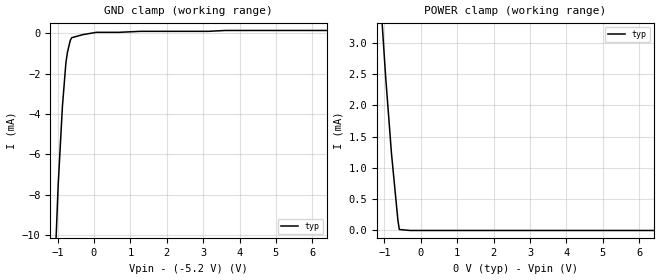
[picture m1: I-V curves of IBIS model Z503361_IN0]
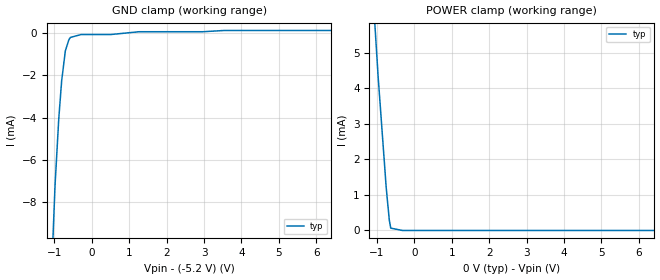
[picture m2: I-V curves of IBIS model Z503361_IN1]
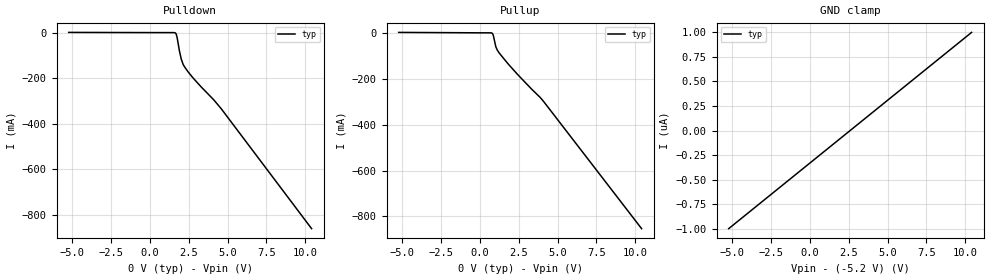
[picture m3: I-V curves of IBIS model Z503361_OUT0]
| YOU ARE ONLY AUTHORIZED TO USE THIS SOFTWARE
| ACCORDING TO LICENSOR'S LICENSE RESTRICTIONS.
[IBIS Ver] 3.1
[File Name] mc100e112fn.ibs
[File Rev] 2.0
[Source] Measured and created by ICX Technology
[Date] Friday 7/14/00 9:07:47 AM
[Copyright]
| (C) COPYRIGHT 1993-2000
| MENTOR GRAPHICS CORPORATION
| ICX STANDARD LIBRARY, ICX PROJECT MODELING,
| ICX CUSTOM MODELING, ICX VENDOR MODEL
| ALL RIGHTS RESERVED.
| THE FOLLOWING ARE TRADEMARKS OR SERVICE MARKS OF
| MENTOR GRAPHICS CORPORATION:ICX (R), ICX STANDARD
| LIBRARY(R), ICX PROJECT MODELING(R), ICX CUSTOM
| MODELING(R), qualityIBIS(TM), MODELVIEWER(TM),
| AND MODELEDITOR(TM)
| ALL COPIES OF SOFTWARE, INCLUDING BUT NOT LIMITED TO
| ANY MODIFICATIONS, ENHANCEMENTS OR DERIVATIVE WORKS,
| MUST CONTAIN ALL MENTOR GRAPHICS CORPORATION'S
| NOTICES AND LEGENDS, INCLUDING THOSE EMBEDDED IN
| SOFTWARE AND THOSE AFFIXED TO SOFTWARE MEDIUM
| AND CONTAINER, AS RECEIVED FROM MENTOR GRAPHICS
| CORPORATION.
|  ZAP Model Builder 2.7
[Component] MC100E112FN
[Manufacturer] OnSemiconductor
[Package]
| variable   typ   min   max
R_pkg  .083ohms NA NA
L_pkg  4.299nH NA NA
C_pkg  1.045pF NA NA
[Pin] signal_name  model_name  R_pin  L_pin C_pin
1 VEE POWER .08 3.94n .925p
2 D1 Z503361_IN0 .082 4.14n .995p
3 D0 Z503361_IN0 .084 4.354n 1.065p
4 _EN Z503361_IN1 .086 4.583n 1.135p
5 NC NC .086 4.583n 1.135p
6 VCCO POWER .084 4.354n 1.065p
7 Q0A Z503361_OUT0 .082 4.14n .995p
8 Q0B Z503361_OUT0 .08 3.94n .925p
9 _Q0A Z503361_OUT1 .082 4.14n .995p
10 _Q0B Z503361_OUT1 .084 4.354n 1.065p
11 VCCO POWER .086 4.583n 1.135p
12 Q1A Z503361_OUT0 .086 4.583n 1.135p
13 Q1B Z503361_OUT0 .084 4.354n 1.065p
14 _Q1A Z503361_OUT1 .082 4.14n .995p
15 _Q1B Z503361_OUT1 .08 3.94n .925p
16 VCC POWER .082 4.14n .995p
17 Q2A Z503361_OUT0 .084 4.354n 1.065p
18 Q2B Z503361_OUT0 .086 4.583n 1.135p
19 _Q2A Z503361_OUT1 .086 4.583n 1.135p
20 _Q2B Z503361_OUT1 .084 4.354n 1.065p
21 VCCO POWER .082 4.14n .995p
22 Q3A Z503361_OUT0 .08 3.94n .925p
23 Q3B Z503361_OUT0 .082 4.14n .995p
24 _Q3A Z503361_OUT1 .084 4.354n 1.065p
25 _Q3B Z503361_OUT1 .086 4.583n 1.135p
26 VCCO POWER .086 4.583n 1.135p
27 D3 Z503361_IN0 .084 4.354n 1.065p
28 D2 Z503361_IN0 .082 4.14n .995p
| Models and submodels in the file (4): Z503361_IN0 (Input_ECL), Z503361_IN1 (Input_ECL), Z503361_OUT0 (Output_ECL), Z503361_OUT1 (Output_ECL)
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| (C) COPYRIGHT 1993-2000
| MENTOR GRAPHICS CORPORATION
| ICX STANDARD LIBRARY, ICX PROJECT MODELING,
| ICX CUSTOM MODELING, ICX VENDOR MODEL
| ALL RIGHTS RESERVED.
| THE FOLLOWING ARE TRADEMARKS OR SERVICE MARKS OF
| MENTOR GRAPHICS CORPORATION:ICX (R), ICX STANDARD
| LIBRARY(R), ICX PROJECT MODELING(R), ICX CUSTOM
| MODELING(R), qualityIBIS(TM), MODELVIEWER(TM),
| AND MODELEDITOR(TM)
| ALL COPIES OF SOFTWARE, INCLUDING BUT NOT LIMITED TO
| ANY MODIFICATIONS, ENHANCEMENTS OR DERIVATIVE WORKS,
| MUST CONTAIN ALL MENTOR GRAPHICS CORPORATION'S
| NOTICES AND LEGENDS, INCLUDING THOSE EMBEDDED IN
| SOFTWARE AND THOSE AFFIXED TO SOFTWARE MEDIUM
| AND CONTAINER, AS RECEIVED FROM MENTOR GRAPHICS
| CORPORATION.
| Model Application Version 1.89 2/18/99.
[Model] Z503361_IN0
Model_type Input_ECL
Vinl = -1.475V
Vinh = -1.165V
C_comp 4.000pF NA NA
| variable typ   min   max
[Voltage Range] -5.200V NA NA
[GND Clamp Reference] -5.200V NA NA
[POWER Clamp Reference] 0.000V NA NA
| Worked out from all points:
|   GND clamp passes 1 mA (typ) near -0.73 V on its own axis
|   POWER clamp passes 1 mA (typ) near -0.77 V on its own axis
[GND Clamp]
-5.2V     -373.7mA   NA         NA
-1.077V   -11.82mA   NA         NA
-983mV    -7.52mA    NA         NA
-866mV    -3.607mA   NA         NA
-771mV    -1.457mA   NA         NA
-728mV    -928.4uA   NA         NA
-650mV    -338.8uA   NA         NA
-611mV    -208.2uA   NA         NA
64mV      56.73uA    NA         NA
1.283V    107.1uA    NA         NA
3.613V    149.7uA    NA         NA
10.4V     149.7uA    NA         NA
[POWER Clamp]
-5.2V     49.86mA    NA         NA
-2.959V   19.61mA    NA         NA
-2.939V   19.59mA    NA         NA
-2.92V    19.46mA    NA         NA
-2.051V   12.08mA    NA         NA
-966.8mV  2.458mA    NA         NA
-806mV    1.228mA    NA         NA
-629.2mV  160.5uA    NA         NA
-590.7mV  15.8uA     NA         NA
-295.3mV  0A         NA         NA
10.4V     0A         NA         NA
| (C) COPYRIGHT 1993-2000
| MENTOR GRAPHICS CORPORATION
| ICX STANDARD LIBRARY, ICX PROJECT MODELING,
| ICX CUSTOM MODELING, ICX VENDOR MODEL
| ALL RIGHTS RESERVED.
| THE FOLLOWING ARE TRADEMARKS OR SERVICE MARKS OF
| MENTOR GRAPHICS CORPORATION:ICX (R), ICX STANDARD
| LIBRARY(R), ICX PROJECT MODELING(R), ICX CUSTOM
| MODELING(R), qualityIBIS(TM), MODELVIEWER(TM),
| AND MODELEDITOR(TM)
| ALL COPIES OF SOFTWARE, INCLUDING BUT NOT LIMITED TO
| ANY MODIFICATIONS, ENHANCEMENTS OR DERIVATIVE WORKS,
| MUST CONTAIN ALL MENTOR GRAPHICS CORPORATION'S
| NOTICES AND LEGENDS, INCLUDING THOSE EMBEDDED IN
| SOFTWARE AND THOSE AFFIXED TO SOFTWARE MEDIUM
| AND CONTAINER, AS RECEIVED FROM MENTOR GRAPHICS
| CORPORATION.
| Model Application Version 1.89 2/18/99.
[Model] Z503361_IN1
Model_type Input_ECL
Vinl = -1.475V
Vinh = -1.165V
C_comp 4.000pF NA NA
| variable typ   min   max
[Voltage Range] -5.200V NA NA
[GND Clamp Reference] -5.200V NA NA
[POWER Clamp Reference] 0.000V NA NA
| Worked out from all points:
|   GND clamp passes 1 mA (typ) near -0.72 V on its own axis
|   POWER clamp passes 1 mA (typ) near -0.73 V on its own axis
[GND Clamp]
-5.2V     -343.6mA   NA         NA
-1.074V   -11.29mA   NA         NA
-982mV    -7.181mA   NA         NA
-883mV    -4.046mA   NA         NA
-806mV    -2.264mA   NA         NA
-707mV    -835.4uA   NA         NA
-610mV    -299uA     NA         NA
-571mV    -203.1uA   NA         NA
-285.5mV  -65.56uA   NA         NA
507.5mV   -65.56uA   NA         NA
1.264V    66.53uA    NA         NA
10.4V     125.8uA    NA         NA
[POWER Clamp]
-5.2V     80.49mA    NA         NA
-1.182V   7.966mA    NA         NA
-966.5mV  4.329mA    NA         NA
-750.4mV  1.2mA      NA         NA
-668.5mV  294.7uA    NA         NA
-629.7mV  66.3uA     NA         NA
-314.9mV  0A         NA         NA
10.4V     0A         NA         NA
| (C) COPYRIGHT 1993-2000
| MENTOR GRAPHICS CORPORATION
| ICX STANDARD LIBRARY, ICX PROJECT MODELING,
| ICX CUSTOM MODELING, ICX VENDOR MODEL
| ALL RIGHTS RESERVED.
| THE FOLLOWING ARE TRADEMARKS OR SERVICE MARKS OF
| MENTOR GRAPHICS CORPORATION:ICX (R), ICX STANDARD
| LIBRARY(R), ICX PROJECT MODELING(R), ICX CUSTOM
| MODELING(R), qualityIBIS(TM), MODELVIEWER(TM),
| AND MODELEDITOR(TM)
| ALL COPIES OF SOFTWARE, INCLUDING BUT NOT LIMITED TO
| ANY MODIFICATIONS, ENHANCEMENTS OR DERIVATIVE WORKS,
| MUST CONTAIN ALL MENTOR GRAPHICS CORPORATION'S
| NOTICES AND LEGENDS, INCLUDING THOSE EMBEDDED IN
| SOFTWARE AND THOSE AFFIXED TO SOFTWARE MEDIUM
| AND CONTAINER, AS RECEIVED FROM MENTOR GRAPHICS
| CORPORATION.
| Model Application Version 1.89 2/18/99.
[Model] Z503361_OUT0
Model_type Output_ECL
Vref=-2.000V
Rref=50.00ohms
Cref=0.000F
Vmeas=-1.320V
C_comp 8.000pF NA NA
| variable typ   min   max
[Voltage Range] -5.200V NA NA
[POWER Clamp Reference] 0.000V NA NA
[Pullup Reference] 0.000V NA NA
[Pulldown Reference] 0.000V NA NA
[GND Clamp Reference] -5.200V NA NA
[GND Clamp]
-5.2V     -1uA       NA         NA
10.4V     1uA        NA         NA
[Pulldown]
-5.2V     829.9uA    NA         NA
1.66V     -2.167mA   NA         NA
1.699V    -5.599mA   NA         NA
1.762V    -21.06mA   NA         NA
1.914V    -81.04mA   NA         NA
2.032V    -116.7mA   NA         NA
2.149V    -139.2mA   NA         NA
2.236V    -149.8mA   NA         NA
2.764V    -197.1mA   NA         NA
4.116V    -294.9mA   NA         NA
4.595V    -333.8mA   NA         NA
10.4V     -859.9mA   NA         NA
[Pullup]
-5.2V     1.751mA    NA         NA
804.2mV   -1.843mA   NA         NA
888.7mV   -14.33mA   NA         NA
1.036V    -60.35mA   NA         NA
1.124V    -74.28mA   NA         NA
1.246V    -87.23mA   NA         NA
2.404V    -179.2mA   NA         NA
4.111V    -299.6mA   NA         NA
10.4V     -853.4mA   NA         NA
[POWER Clamp]
-5.2V     0A         NA         NA
10.4V     0A         NA         NA
[Ramp]
| variable typ min max
dV/dt_r 489.0m/222.6p NA NA
dV/dt_f 489.0m/179.6p NA NA
R_load = 500.0Ohms
